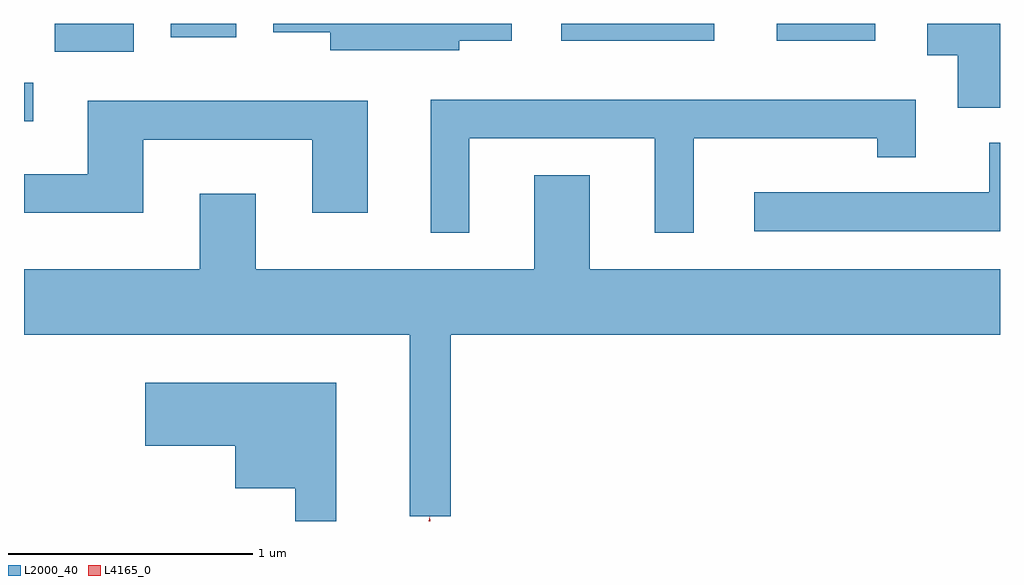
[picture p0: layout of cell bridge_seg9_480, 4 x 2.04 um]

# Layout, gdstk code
import gdstk
lib = gdstk.Library(unit=1e-6, precision=1e-09)
def R(c, l, rs):  # rectangles x0, y0, x1, y1
    for r in rs: c.add(gdstk.rectangle(r[:2], r[2:], *l))
def P(c, l, *ps):  # polygons
    for p in ps: c.add(gdstk.Polygon(p, *l))
L2000_40 = (2000, 40)
L4165_0 = (4165, 0)

bridge_seg9_480 = lib.new_cell('bridge_seg9_480')
R(bridge_seg9_480, L2000_40, [(561.12,1946.071,561.158,1946.229), (561.246,1946.356,561.569,1946.47), (563.321,1946.401,563.949,1946.47), (564.206,1946.401,564.609,1946.47), (561.721,1946.416,561.989,1946.47)])
P(bridge_seg9_480, L2000_40, [(562.904,1946.401),(563.119,1946.401),(563.119,1946.47),(562.141,1946.47),(562.141,1946.436),(562.376,1946.436),(562.376,1946.361),(562.904,1946.361)],
  [(565.12,1946.47),(564.821,1946.47),(564.821,1946.341),(564.946,1946.341),(564.946,1946.126),(565.12,1946.126)],
  [(562.944,1946.001),(563.706,1946.001),(563.706,1945.613),(563.864,1945.613),(563.864,1946.001),(564.616,1946.001),(564.616,1945.923),(564.774,1945.923),(564.774,1946.159),(562.786,1946.159),(562.786,1945.613),(562.944,1945.613)],
  [(561.609,1945.996),(562.301,1945.996),(562.301,1945.696),(562.529,1945.696),(562.529,1946.154),(561.381,1946.154),(561.381,1945.854),(561.12,1945.854),(561.12,1945.696),(561.609,1945.696)],
  [(565.12,1945.983),(565.076,1945.983),(565.076,1945.779),(564.113,1945.779),(564.113,1945.621),(565.12,1945.621)],
  [(562.869,1945.196),(565.12,1945.196),(565.12,1945.464),(563.439,1945.464),(563.439,1945.849),(563.211,1945.849),(563.211,1945.464),(562.069,1945.464),(562.069,1945.774),(561.841,1945.774),(561.841,1945.464),(561.12,1945.464),(561.12,1945.196),(562.701,1945.196),(562.701,1944.453),(562.869,1944.453)],
  [(562.399,1944.999),(561.616,1944.999),(561.616,1944.741),(561.986,1944.741),(561.986,1944.566),(562.231,1944.566),(562.231,1944.432),(562.399,1944.432)])
P(bridge_seg9_480, L4165_0, [(562.779,1944.432),(562.782,1944.45),(562.783,1944.45),(562.785,1944.432)],
  [(562.78,1944.432),(562.782,1944.446),(562.783,1944.447),(562.783,1944.446),(562.785,1944.432)])

lib.write_gds('bridge_seg9_480.gds')
